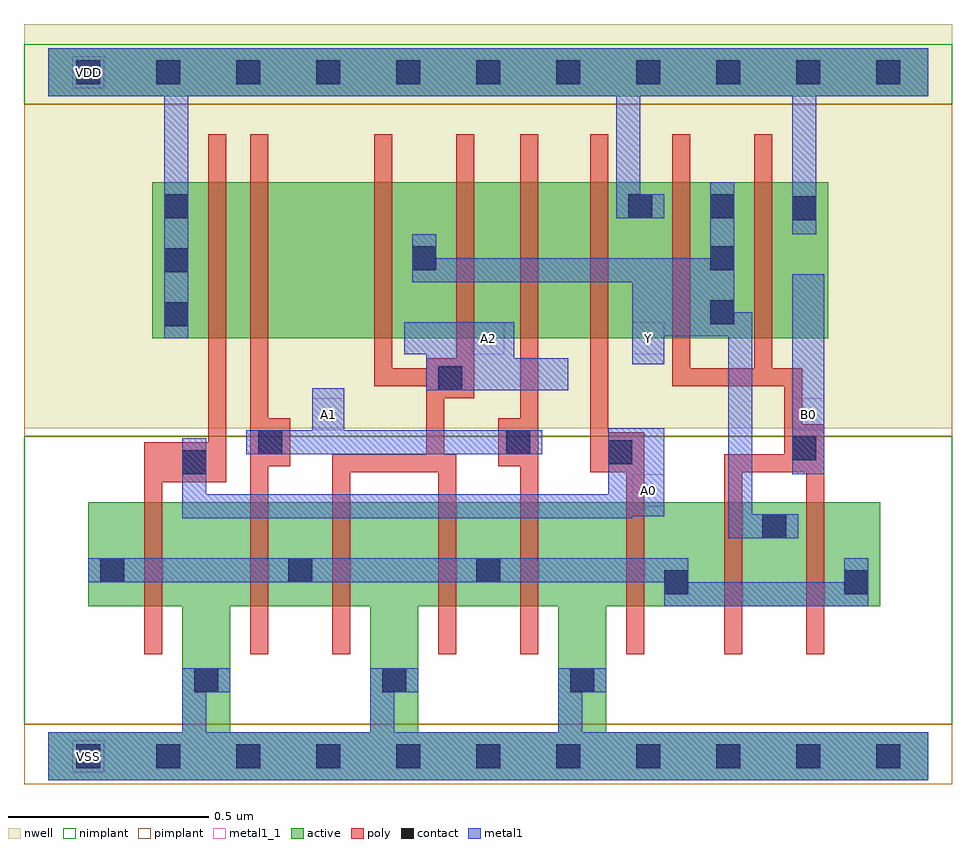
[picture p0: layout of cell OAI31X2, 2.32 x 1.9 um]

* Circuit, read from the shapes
.subckt OAI31X2 A0 A1 A2 B0 VDD VSS Y
M1 VSS A0 n1 VSS nfet w=0.26u l=0.045u m=2
M2 n1 A1 VSS VSS nfet w=0.26u l=0.045u m=2
M3 VSS A2 n1 VSS nfet w=0.26u l=0.045u m=2
M4 Y B0 n1 VSS nfet w=0.26u l=0.045u m=2
M5 n2 A0 VDD VDD pfet w=0.39u l=0.045u
M6 n3 A1 n2 VDD pfet w=0.39u l=0.045u
M7 Y A2 n3 VDD pfet w=0.39u l=0.045u
M8 n4 A2 Y VDD pfet w=0.39u l=0.045u
M9 n5 A1 n4 VDD pfet w=0.39u l=0.045u
M10 VDD A0 n5 VDD pfet w=0.39u l=0.045u
M11 Y B0 VDD VDD pfet w=0.39u l=0.045u m=2
.ends

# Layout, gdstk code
import gdstk
lib = gdstk.Library(unit=1e-6, precision=5e-10)
def R(c, l, rs):  # rectangles x0, y0, x1, y1
    for r in rs: c.add(gdstk.rectangle(r[:2], r[2:], *l))
def A(c, l, x, y, w, h, nx, ny, dx, dy):  # array of equal rectangles
    R(c, l, [(x+i*dx, y+j*dy, x+i*dx+w, y+j*dy+h) for i in range(nx) for j in range(ny)])
def P(c, l, *ps):  # polygons
    for p in ps: c.add(gdstk.Polygon(p, *l))
active = (1, 0)
nwell = (2, 0)
poly = (3, 0)
nimplant = (4, 0)
pimplant = (5, 0)
contact = (6, 0)
metal1 = (7, 0)
metal1_1 = (7, 1)

oai31x2 = lib.new_cell('OAI31X2')
R(oai31x2, active, [(0.26,1.045,1.95,1.435), (0,1.65,2.2,1.77)])
P(oai31x2, active, [(0.1,0.635),(2.08,0.635),(2.08,0.375),(1.395,0.375),(1.395,0.06),(2.2,0.06),(2.2,-0.06),(0,-0.06),(0,0.06),(0.335,0.06),(0.335,0.375),(0.455,0.375),(0.455,0.06),(0.805,0.06),(0.805,0.375),(0.925,0.375),(0.925,0.06),(1.275,0.06),(1.275,0.375),(0.1,0.375)])
R(oai31x2, nwell, [(-0.06,0.82,2.26,1.83)])
P(oai31x2, poly, [(0.4,1.555),(0.445,1.555),(0.445,0.685),(0.285,0.685),(0.285,0.255),(0.24,0.255),(0.24,0.785),(0.4,0.785)],
  [(0.505,1.555),(0.55,1.555),(0.55,0.845),(0.605,0.845),(0.605,0.725),(0.55,0.725),(0.55,0.255),(0.505,0.255)],
  [(0.815,1.555),(0.86,1.555),(0.86,0.97),(0.945,0.97),(0.945,0.995),(1.02,0.995),(1.02,1.555),(1.065,1.555),(1.065,0.895),(0.99,0.895),(0.99,0.755),(1.02,0.755),(1.02,0.255),(0.975,0.255),(0.975,0.71),(0.755,0.71),(0.755,0.255),(0.71,0.255),(0.71,0.755),(0.945,0.755),(0.945,0.925),(0.815,0.925)],
  [(1.18,1.555),(1.225,1.555),(1.225,0.255),(1.18,0.255),(1.18,0.725),(1.125,0.725),(1.125,0.845),(1.18,0.845)],
  [(1.355,1.555),(1.4,1.555),(1.4,0.81),(1.49,0.81),(1.49,0.255),(1.445,0.255),(1.445,0.71),(1.355,0.71)],
  [(1.56,1.555),(1.605,1.555),(1.605,0.97),(1.765,0.97),(1.765,1.555),(1.81,1.555),(1.81,0.97),(1.885,0.97),(1.885,0.83),(1.94,0.83),(1.94,0.255),(1.895,0.255),(1.895,0.71),(1.735,0.71),(1.735,0.255),(1.69,0.255),(1.69,0.755),(1.84,0.755),(1.84,0.925),(1.56,0.925)])
R(oai31x2, nimplant, [(-0.06,0.08,2.26,0.8), (-0.06,1.63,2.26,1.78)])
R(oai31x2, pimplant, [(-0.06,-0.07,2.26,0.08), (-0.06,0.8,2.26,1.63)])
A(oai31x2, contact, 0.07, -0.03, 0.06, 0.06, 11, 2, 0.2, 1.71)
A(oai31x2, contact, 0.365, 0.16, 0.06, 0.06, 3, 1, 0.47, 0)
A(oai31x2, contact, 0.13, 0.435, 0.06, 0.06, 3, 1, 0.47, 0)
A(oai31x2, contact, 0.29, 1.075, 0.06, 0.06, 1, 3, 0, 0.135)
R(oai31x2, contact, [(1.54,0.405,1.6,0.465), (1.99,0.405,2.05,0.465), (1.785,0.545,1.845,0.605), (0.335,0.705,0.395,0.765), (1.4,0.73,1.46,0.79), (1.86,0.74,1.92,0.8), (0.525,0.755,0.585,0.815), (1.145,0.755,1.205,0.815), (0.975,0.915,1.035,0.975), (1.655,1.08,1.715,1.14), (0.91,1.215,0.97,1.275), (1.655,1.215,1.715,1.275), (1.86,1.34,1.92,1.4), (1.45,1.345,1.51,1.405), (1.655,1.345,1.715,1.405)])
R(oai31x2, metal1, [(1.86,0.705,1.94,1.205)])
P(oai31x2, metal1, [(0,1.77),(2.2,1.77),(2.2,1.65),(1.92,1.65),(1.92,1.305),(1.86,1.305),(1.86,1.65),(1.48,1.65),(1.48,1.405),(1.54,1.405),(1.54,1.345),(1.42,1.345),(1.42,1.65),(0.35,1.65),(0.35,1.045),(0.29,1.045),(0.29,1.65),(0,1.65)],
  [(0.91,1.305),(0.97,1.305),(0.97,1.245),(1.655,1.245),(1.655,1.435),(1.715,1.435),(1.715,1.11),(1.76,1.11),(1.76,0.605),(1.875,0.605),(1.875,0.545),(1.7,0.545),(1.7,1.05),(1.54,1.05),(1.54,0.98),(1.46,0.98),(1.46,1.185),(0.91,1.185)],
  [(0.89,1.085),(1.165,1.085),(1.165,0.995),(1.3,0.995),(1.3,0.915),(0.945,0.915),(0.945,1.005),(0.89,1.005)],
  [(0.66,0.92),(0.74,0.92),(0.74,0.815),(1.235,0.815),(1.235,0.755),(0.495,0.755),(0.495,0.815),(0.66,0.815)],
  [(0.335,0.795),(0.395,0.795),(0.395,0.655),(1.4,0.655),(1.4,0.82),(1.54,0.82),(1.54,0.6),(1.46,0.6),(1.46,0.595),(0.335,0.595)],
  [(0.1,0.495),(1.6,0.495),(1.6,0.435),(1.99,0.435),(1.99,0.495),(2.05,0.495),(2.05,0.375),(1.54,0.375),(1.54,0.435),(0.1,0.435)],
  [(0.335,0.22),(0.455,0.22),(0.455,0.16),(0.395,0.16),(0.395,0.06),(0.805,0.06),(0.805,0.22),(0.925,0.22),(0.925,0.16),(0.865,0.16),(0.865,0.06),(1.275,0.06),(1.275,0.22),(1.395,0.22),(1.395,0.16),(1.335,0.16),(1.335,0.06),(2.2,0.06),(2.2,-0.06),(0,-0.06),(0,0.06),(0.335,0.06)])
R(oai31x2, metal1_1, [(0.06,-0.04,0.14,0.04), (1.46,0.625,1.54,0.705), (0.66,0.815,0.74,0.895), (1.86,0.815,1.94,0.895), (1.06,1.005,1.14,1.085), (1.46,1.005,1.54,1.085), (0.06,1.67,0.14,1.75)])
oai31x2.add(gdstk.Label('Y', (1.5,1.045), layer=7, texttype=1))
oai31x2.add(gdstk.Label('A2', (1.1,1.045), layer=7, texttype=1))
oai31x2.add(gdstk.Label('A1', (0.7,0.855), layer=7, texttype=1))
oai31x2.add(gdstk.Label('A0', (1.5,0.665), layer=7, texttype=1))
oai31x2.add(gdstk.Label('B0', (1.9,0.855), layer=7, texttype=1))
oai31x2.add(gdstk.Label('VDD', (0.1,1.71), layer=7, texttype=1))
oai31x2.add(gdstk.Label('VSS', (0.1,0), layer=7, texttype=1))
oai31x2.add(gdstk.Label('OAI31X2', (0,0), layer=63, texttype=0))

lib.write_gds('OAI31X2.gds')
